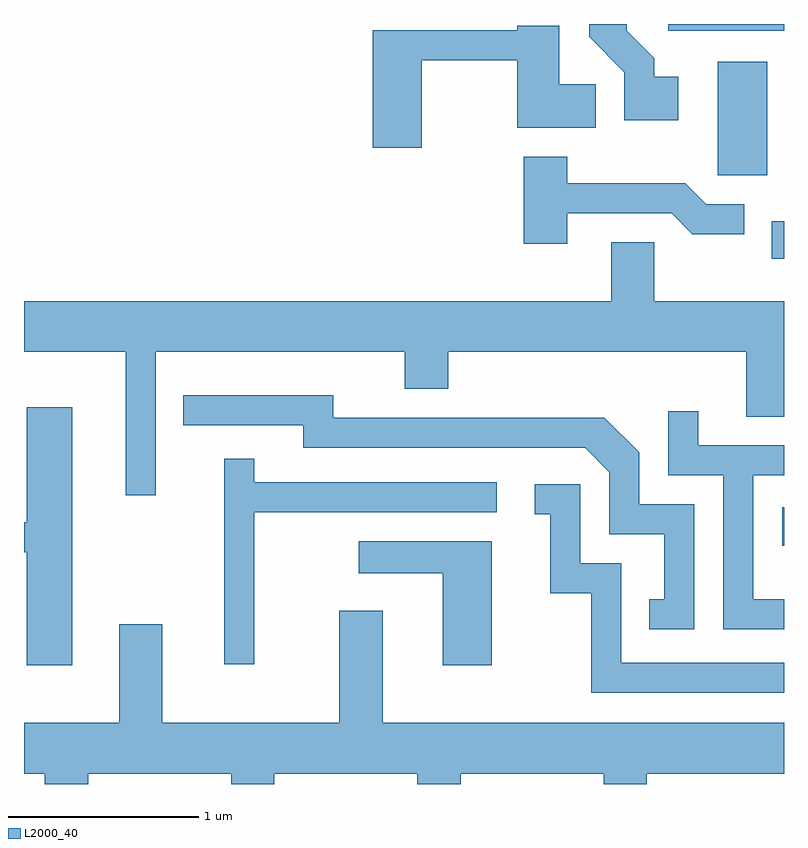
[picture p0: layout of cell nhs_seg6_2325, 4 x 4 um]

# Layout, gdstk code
import gdstk
lib = gdstk.Library(unit=1e-6, precision=1e-09)
def R(c, l, rs):  # rectangles x0, y0, x1, y1
    for r in rs: c.add(gdstk.rectangle(r[:2], r[2:], *l))
def P(c, l, *ps):  # polygons
    for p in ps: c.add(gdstk.Polygon(p, *l))
L2000_40 = (2000, 40)

nhs_seg6_2325 = lib.new_cell('nhs_seg6_2325')
R(nhs_seg6_2325, L2000_40, [(259.601,1593.416,259.611,1593.619), (259.546,1594.926,259.611,1595.124), (259.261,1595.366,259.524,1595.964), (259.003,1596.126,259.611,1596.162)])
P(nhs_seg6_2325, L2000_40, [(259.054,1595.884),(258.929,1595.884),(258.929,1595.982),(258.784,1596.127),(258.784,1596.162),(258.586,1596.162),(258.586,1596.094),(258.771,1595.909),(258.771,1595.656),(259.054,1595.656)],
  [(257.704,1595.971),(258.206,1595.971),(258.206,1595.616),(258.619,1595.616),(258.619,1595.844),(258.429,1595.844),(258.429,1596.154),(258.206,1596.154),(258.206,1596.129),(257.446,1596.129),(257.446,1595.511),(257.704,1595.511)],
  [(258.469,1595.166),(259.019,1595.166),(259.129,1595.056),(259.403,1595.056),(259.403,1595.214),(259.202,1595.214),(259.092,1595.324),(258.469,1595.324),(258.469,1595.464),(258.241,1595.464),(258.241,1595.006),(258.469,1595.006)],
  [(259.411,1594.096),(259.611,1594.096),(259.611,1594.704),(258.929,1594.704),(258.929,1595.014),(258.701,1595.014),(258.701,1594.704),(255.611,1594.704),(255.611,1594.436),(256.146,1594.436),(256.146,1593.683),(256.304,1593.683),(256.304,1594.436),(257.616,1594.436),(257.616,1594.241),(257.844,1594.241),(257.844,1594.436),(259.411,1594.436)],
  [(259.139,1593.634),(258.849,1593.634),(258.849,1593.907),(258.666,1594.089),(257.239,1594.089),(257.239,1594.209),(256.448,1594.209),(256.448,1594.051),(257.081,1594.051),(257.081,1593.931),(258.564,1593.931),(258.691,1593.804),(258.691,1593.476),(258.981,1593.476),(258.981,1593.134),(258.903,1593.134),(258.903,1592.976),(259.139,1592.976)],
  [(255.864,1594.144),(255.626,1594.144),(255.626,1593.539),(255.611,1593.539),(255.611,1593.381),(255.626,1593.381),(255.626,1592.786),(255.864,1592.786)],
  [(259.611,1593.134),(259.449,1593.134),(259.449,1593.786),(259.611,1593.786),(259.611,1593.944),(259.159,1593.944),(259.159,1594.123),(259.001,1594.123),(259.001,1593.786),(259.291,1593.786),(259.291,1592.976),(259.611,1592.976)],
  [(256.824,1593.591),(258.098,1593.591),(258.098,1593.749),(256.824,1593.749),(256.824,1593.873),(256.666,1593.873),(256.666,1592.793),(256.824,1592.793)],
  [(259.611,1592.799),(258.754,1592.799),(258.754,1593.324),(258.539,1593.324),(258.539,1593.739),(258.298,1593.739),(258.298,1593.581),(258.381,1593.581),(258.381,1593.166),(258.596,1593.166),(258.596,1592.641),(259.611,1592.641)],
  [(258.074,1593.439),(257.373,1593.439),(257.373,1593.271),(257.816,1593.271),(257.816,1592.786),(258.074,1592.786)],
  [(255.949,1592.216),(256.701,1592.216),(256.701,1592.162),(256.929,1592.162),(256.929,1592.216),(257.681,1592.216),(257.681,1592.162),(257.909,1592.162),(257.909,1592.216),(258.661,1592.216),(258.661,1592.162),(258.889,1592.162),(258.889,1592.216),(259.611,1592.216),(259.611,1592.484),(257.499,1592.484),(257.499,1593.074),(257.271,1593.074),(257.271,1592.484),(256.339,1592.484),(256.339,1593.004),(256.111,1593.004),(256.111,1592.484),(255.611,1592.484),(255.611,1592.216),(255.721,1592.216),(255.721,1592.162),(255.949,1592.162)])

lib.write_gds('nhs_seg6_2325.gds')
